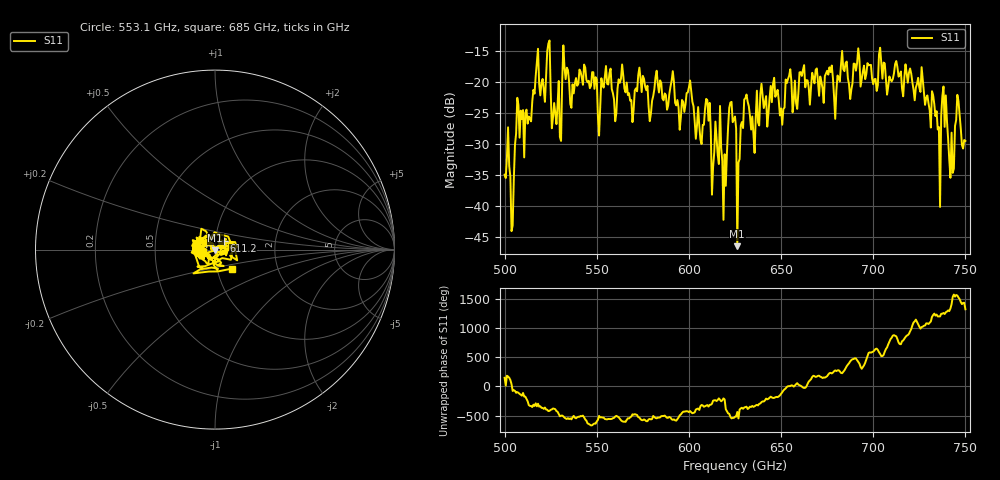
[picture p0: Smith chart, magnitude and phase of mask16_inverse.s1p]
!Created with skrf (http://scikit-rf.org).
# GHz S MA R 50.0
!freq magS11 angS11
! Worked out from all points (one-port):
!   401 points, 500 GHz to 750 GHz, reference 50 ohm
!   lowest |S11| = -46.5 dB at 626.2 GHz (marker M1), VSWR 1.01, Z = 50.1 - j0.462 ohm
!   |S11| at or under -10 dB: start of sweep to end of sweep
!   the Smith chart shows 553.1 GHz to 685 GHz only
!   S11 on the Smith chart (normalised r, x): 553.1 GHz: 0.83, -0.02; 611.2 GHz: 1.10, +0.10; 685 GHz: 1.18, -0.25
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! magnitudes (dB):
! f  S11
! 500 GHz  -34.9
! 503.8 GHz  -44.1
! 507.5 GHz  -23.7
! 513.8 GHz  -25.9
! 516.9 GHz  -19.0
! 523.8 GHz  -13.8
! 526.9 GHz  -23.4
! 531.2 GHz  -19.8
! 553.1 GHz  -20.5
! 562.5 GHz  -20.1
! 593.8 GHz  -22.9
! 600 GHz  -20.8
! 611.2 GHz  -23.4
! 619.4 GHz  -31.7
! 622.5 GHz  -23.3
! 625 GHz  -25.6
! 626.2 GHz  -46.5
! 631.2 GHz  -22.0
! 635 GHz  -28.4
! 656.2 GHz  -24.9
! 685 GHz  -16.9
! 687.5 GHz  -22.7
! 718.8 GHz  -20.1
! 735 GHz  -27.7
! 738.8 GHz  -27.2
! 742.5 GHz  -28.2
! 745.6 GHz  -22.1
! 750 GHz  -29.5
